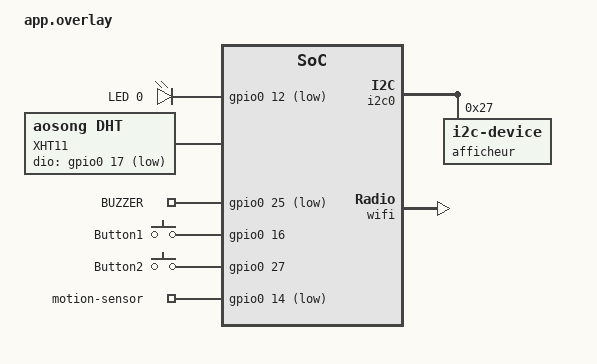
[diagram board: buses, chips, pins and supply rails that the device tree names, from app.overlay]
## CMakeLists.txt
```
cmake_minimum_required(VERSION 3.20.0)
find_package(Zephyr REQUIRED HINTS
        $ENV{ZEPHYR_BASE})
project(zephyr_smart_home_OLANDA_JACOB)
target_sources(app PRIVATE
        src/main.c
        src/lcd_screen_i2c.c
)
```

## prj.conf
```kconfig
# Sensor
CONFIG_I2C=y
CONFIG_SENSOR=y
CONFIG_ADC=y

CONFIG_WIFI=y
CONFIG_INIT_STACKS=y
CONFIG_NET_L2_WIFI_MGMT=y
CONFIG_HEAP_MEM_POOL_SIZE=98304
CONFIG_NET_L2_ETHERNET=y
CONFIG_ESP32_WIFI_STA_AUTO_DHCPV4=y

CONFIG_NETWORKING=y
CONFIG_NET_IPV4=y
CONFIG_NET_IPV6=n
CONFIG_NET_UDP=y
CONFIG_NET_TCP=y
CONFIG_DNS_RESOLVER=y
CONFIG_DNS_RESOLVER_AI_MAX_ENTRIES=10
CONFIG_NET_SOCKETS_POSIX_NAMES=y
CONFIG_NET_SOCKETS=y
CONFIG_HTTP_CLIENT=y

CONFIG_NET_DHCPV4=y
CONFIG_NET_CONFIG_SETTINGS=y
CONFIG_NET_TX_STACK_SIZE=2048
CONFIG_NET_RX_STACK_SIZE=2048
CONFIG_NET_PKT_TX_COUNT=10
CONFIG_NET_PKT_RX_COUNT=10
CONFIG_NET_BUF_RX_COUNT=20
CONFIG_NET_BUF_TX_COUNT=20
CONFIG_NET_MAX_CONTEXTS=10
```

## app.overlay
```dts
/{
    chosen {
        zephyr,console = &uart0;
    };

    leds{
        compatible = "gpio-leds";
        ledyellow: led_yellow{
            gpios = <&gpio0 12 GPIO_ACTIVE_LOW>;
            label = "LED 0";
        };
    };

    dht11: dht11 {
        compatible = "aosong,dht";
        status = "okay";
        dio-gpios = <&gpio0 17 GPIO_ACTIVE_LOW>;
        label = "XHT11";
    };


    buzzer
    {
        compatible = "gpio-keys";
        buzzer: buzzer{
            gpios = <&gpio0 25 GPIO_ACTIVE_LOW>;
            label = "BUZZER";
        };
    };


    buttons: buttons
    {
            compatible = "gpio-keys";
            button0: button_0
            {
                    gpios = <&gpio0 16 GPIO_ACTIVE_HIGH>;
                    label = "Button1";
            };
            button1: button_1
            {
                    gpios = <&gpio0 27 GPIO_ACTIVE_HIGH>;
                    label = "Button2";
            };
    };

    pir {
        compatible = "gpio-keys";
        motionsensor: motion_sensor {
        gpios = <&gpio0 14 GPIO_ACTIVE_LOW>;
        label = "motion-sensor";
        };
    };


    aliases
    {
        led-yellow = &ledyellow;
        afficheur-lcd = &afficheur;
        capteur-temp = &dht11;
        button1 = &button0;
        button2 = &button1;
        buzzer = &buzzer;
        motion-sensor = &motionsensor;
    };
};

&i2c0 {
        afficheur: afficheur_lcd@27 {
            compatible = "i2c-device";
            reg = <0x27>;
        };
};

&wifi{
    status = "okay";
};
```

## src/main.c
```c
//
// Created by seatech on 03/11/23.
//
#include <stdio.h>
#include <zephyr/kernel.h>
#include <zephyr/drivers/gpio.h>
#include "../inc/lcd_screen_i2c.h"
#include <zephyr/drivers/i2c.h>
#include <zephyr/device.h>
#include <zephyr/drivers/sensor.h>
#include <zephyr/drivers/pwm.h>
#include <zephyr/drivers/adc.h>
#include <zephyr/net/net_if.h>
#include <zephyr/net/wifi_mgmt.h>
#include <zephyr/net/net_event.h>
#include <zephyr/net/http/client.h>
#include <errno.h>
#include <zephyr/net/socket.h>

#define LED_YELLOW_NODE DT_ALIAS(led_yellow)
#define LCD_NODE DT_ALIAS(afficheur_lcd)
#define BUTTON_NODE_1 DT_ALIAS(button1)
#define BUTTON_NODE_2 DT_ALIAS(button2)
#define BUZZER_NODE DT_ALIAS(buzzer)
#define MOTION_SENSOR DT_ALIAS(motion_sensor)
#define SSID "OnePlus 8T"
#define PSK "eagleoffire8"

const struct gpio_dt_spec led_yellow_gpio = GPIO_DT_SPEC_GET_OR(LED_YELLOW_NODE, gpios, {0});
const struct i2c_dt_spec dev_lcd_screen = I2C_DT_SPEC_GET(LCD_NODE);
const struct gpio_dt_spec button_gpio1 = GPIO_DT_SPEC_GET_OR(BUTTON_NODE_1, gpios, {0});
const struct gpio_dt_spec button_gpio2 = GPIO_DT_SPEC_GET_OR(BUTTON_NODE_2, gpios, {0});
const struct gpio_dt_spec buzzer_gpio = GPIO_DT_SPEC_GET_OR(BUZZER_NODE, gpios, {0});
const struct gpio_dt_spec MotionSensor = GPIO_DT_SPEC_GET_OR(MOTION_SENSOR, gpios, {0});
const struct device *const dht11 = DEVICE_DT_GET_ONE(aosong_dht);

int flag = 0;

static K_SEM_DEFINE(wifi_connected, 0, 1);
static K_SEM_DEFINE(ipv4_address_obtained, 0, 1);

static struct net_mgmt_event_callback wifi_cb;
static struct net_mgmt_event_callback ipv4_cb;

void alarm_thread();
void error();
void gpio_callback_1();
void gpio_callback_2();

static void handle_wifi_connect_result(struct net_mgmt_event_callback *cb);
static void handle_wifi_disconnect_result(struct net_mgmt_event_callback *cb);
static void handle_ipv4_result(struct net_if *iface);
static void wifi_mgmt_event_handler(struct net_mgmt_event_callback *cb, uint32_t mgmt_event, struct net_if *iface);
void wifi_connect(void);
void wifi_status(void);

#define MIN_PERIOD PWM_SEC(1U) / 128U
#define MAX_PERIOD PWM_SEC(1U)

int main(void) {
    struct gpio_callback button_1;
    struct gpio_callback button_2;

    // Configurez les broches
    gpio_pin_configure(button_gpio1.port, button_gpio1.pin, GPIO_INPUT);
    // Configurez la gestion des interruptions
    gpio_init_callback(&button_1, gpio_callback_1, BIT(button_gpio1.pin));
    gpio_add_callback(button_gpio1.port, &button_1);
    // Activez les interruptions
    gpio_pin_interrupt_configure_dt(&button_gpio1, GPIO_INT_EDGE_BOTH);


    gpio_pin_configure(button_gpio2.port, button_gpio2.pin, GPIO_INPUT);
    gpio_init_callback(&button_2, gpio_callback_2, BIT(button_gpio2.pin));
    gpio_add_callback(button_gpio2.port, &button_2);
    gpio_pin_interrupt_configure_dt(&button_gpio2, GPIO_INT_EDGE_BOTH);

    init_lcd(&dev_lcd_screen);
    write_lcd(&dev_lcd_screen, "ALARM MODE :", LCD_LINE_1);
    write_lcd(&dev_lcd_screen, "OFF           ", LCD_LINE_2);

    gpio_pin_configure_dt(&MotionSensor, GPIO_INPUT);

    net_mgmt_init_event_callback(&wifi_cb, wifi_mgmt_event_handler, NET_EVENT_WIFI_CONNECT_RESULT | NET_EVENT_WIFI_DISCONNECT_RESULT);
    net_mgmt_init_event_callback(&ipv4_cb, wifi_mgmt_event_handler, NET_EVENT_IPV4_ADDR_ADD);

    net_mgmt_add_event_callback(&wifi_cb);
    net_mgmt_add_event_callback(&ipv4_cb);

    wifi_connect();

    k_sem_take(&wifi_connected, K_FOREVER);
    wifi_status();
    k_sem_take(&ipv4_address_obtained, K_FOREVER);


    struct sensor_value temp, humidity, press;
    while(1){
        struct sensor_value temp, humidity, press;

        if (sensor_sample_fetch(dht11) < 0)
        {
            printk("Échec de l'échantillonnage du capteur DTH11\n");
        }

        if (sensor_channel_get(dht11, SENSOR_CHAN_AMBIENT_TEMP, &temp) < 0)
        {
            printk("Échec de récupération de la température\n");
        }

        if (sensor_channel_get(dht11, SENSOR_CHAN_HUMIDITY, &humidity) < 0)
        {
            printk("Échec de récupération de l'humidité\n");
        }

        if (sensor_channel_get(dht11, SENSOR_CHAN_PRESS, &press) < 0)
        {
            printk("Échec de récupération de la pression\n");
        }

        sensor_sample_fetch(dht11);
        sensor_channel_get(dht11,SENSOR_CHAN_AMBIENT_TEMP,&temp);
        sensor_channel_get(dht11,SENSOR_CHAN_HUMIDITY,&humidity);
        sensor_channel_get(dht11,SENSOR_CHAN_PRESS,&press);

        printk("temp: %d.%06d; press: %d.%06d; humidity: %d.%06d\n",
               temp.val1, temp.val2, press.val1, press.val2,
               humidity.val1, humidity.val2);
        k_sleep(K_SECONDS(10));
    }
}

K_THREAD_DEFINE(alarm_thread_id, 521, alarm_thread, NULL, NULL, NULL, 9, 0, 0);

void alarm_thread(){
    k_thread_suspend(alarm_thread_id);
    while(1){
        if(flag == 1) {
            gpio_pin_configure_dt(&led_yellow_gpio, GPIO_OUTPUT_HIGH);
            int sens_val = gpio_pin_get_dt(&MotionSensor);
            if(sens_val == 0){
                write_lcd(&dev_lcd_screen, "ALERTE     ", LCD_LINE_1);
                write_lcd(&dev_lcd_screen, "INTRUS     ", LCD_LINE_2);
                for (int i = 0; i < 200; i++) {
                    k_sleep(K_MSEC(1));
                    gpio_pin_configure_dt(&buzzer_gpio, GPIO_OUTPUT_LOW);
                    k_sleep(K_MSEC(1));
                    gpio_pin_configure_dt(&buzzer_gpio, GPIO_OUTPUT_HIGH);
                }
            }
            else{
                write_lcd(&dev_lcd_screen, "ALARM MODE :", LCD_LINE_1);
                write_lcd(&dev_lcd_screen, "ON           ", LCD_LINE_2);
            }
        }
        else{
            write_lcd(&dev_lcd_screen, "ALARM MODE :", LCD_LINE_1);
            write_lcd(&dev_lcd_screen, "OFF          ", LCD_LINE_2);
            gpio_pin_configure_dt(&led_yellow_gpio, GPIO_OUTPUT_LOW);

            struct sensor_value temp, humidity, press;

            sensor_sample_fetch(dht11);
            sensor_channel_get(dht11,SENSOR_CHAN_AMBIENT_TEMP,&temp);
            sensor_channel_get(dht11,SENSOR_CHAN_HUMIDITY,&humidity);
            sensor_channel_get(dht11,SENSOR_CHAN_PRESS,&press);

            printk("temp: %d.%06d; press: %d.%06d; humidity: %d.%06d\n",
                   temp.val1, temp.val2, press.val1, press.val2,
                   humidity.val1, humidity.val2);
        }
        k_sleep(K_SECONDS(1));
    }
}

void gpio_callback_1()
{
    printk("Bouton 1 appuyé\n");
    flag = 1;
    k_thread_resume(alarm_thread_id);
}

void gpio_callback_2()
{
    printk("Bouton 2 appuyé\n");
    flag = 0;
}

void error()
{
}

static void handle_wifi_connect_result(struct net_mgmt_event_callback *cb)
{
    const struct wifi_status *status = (const struct wifi_status *)cb->info;
    if (status->status)
    {
        printk("Connection request failed (%d)\n", status->status);
    }
    else
    {
        printk("Connected\n");
        k_sem_give(&wifi_connected);
    }
}

static void handle_wifi_disconnect_result(struct net_mgmt_event_callback *cb)
{
    const struct wifi_status *status = (const struct wifi_status *)cb->info;
    if (status->status)
    {
        printk("Disconnection request (%d)\n", status->status);
    }
    else
    {
        printk("Disconnected\n");
        k_sem_take(&wifi_connected, K_NO_WAIT);
    }
}

static void handle_ipv4_result(struct net_if *iface)
{
    int i = 0;
    for (i = 0; i < NET_IF_MAX_IPV4_ADDR; i++)
    {
        char buf[NET_IPV4_ADDR_LEN];
        if (iface->config.ip.ipv4->unicast[i].addr_type != NET_ADDR_DHCP)
        {
            continue;
        }
        printk("IPv4 address: %s\n", net_addr_ntop(AF_INET, &iface->config.ip.ipv4->unicast[i].address.in_addr, buf, sizeof(buf)));
        printk("Subnet: %s\n", net_addr_ntop(AF_INET, &iface->config.ip.ipv4->netmask, buf, sizeof(buf)));
        printk("Router: %s\n", net_addr_ntop(AF_INET, &iface->config.ip.ipv4->gw, buf, sizeof(buf)));
    }
    k_sem_give(&ipv4_address_obtained);
}

static void wifi_mgmt_event_handler(struct net_mgmt_event_callback *cb, uint32_t mgmt_event, struct net_if *iface)
{
    switch (mgmt_event)
    {
        case NET_EVENT_WIFI_CONNECT_RESULT:
            handle_wifi_connect_result(cb);
            break;
        case NET_EVENT_WIFI_DISCONNECT_RESULT:
            handle_wifi_disconnect_result(cb);
            break;
        case NET_EVENT_IPV4_ADDR_ADD:
            handle_ipv4_result(iface);
            break;
        default:
            break;
    }
}

void wifi_connect(void)
{
    struct net_if *iface = net_if_get_default();
    struct wifi_connect_req_params wifi_params = {0};
    wifi_params.ssid = SSID;
    wifi_params.psk = PSK;
    wifi_params.ssid_length = strlen(SSID);
    wifi_params.psk_length = strlen(PSK);
    wifi_params.channel = WIFI_CHANNEL_ANY;
    wifi_params.security = WIFI_SECURITY_TYPE_PSK;
    wifi_params.band = WIFI_FREQ_BAND_2_4_GHZ;
    wifi_params.mfp = WIFI_MFP_OPTIONAL;
    printk("Connecting to SSID: %s\n", wifi_params.ssid);
    if (net_mgmt(NET_REQUEST_WIFI_CONNECT, iface, &wifi_params, sizeof(struct wifi_connect_req_params)))
    {
        printk("WiFi Connection Request Failed\n");
    }
}

void wifi_status(void)
{
    struct net_if *iface = net_if_get_default();
    struct wifi_iface_status status = {0};
    if (net_mgmt(NET_REQUEST_WIFI_IFACE_STATUS, iface, &status, sizeof(struct wifi_iface_status)))
    {
        printk("WiFi Status Request Failed\n");
    }
    printk("\n");
    if (status.state >= WIFI_STATE_ASSOCIATED)
    {
        printk("SSID: %-32s\n", status.ssid);
        printk("Channel: %d\n", status.channel);
        printk("RSSI: %d\n", status.rssi);
    }
}

/*
static struct addrinfo hints;
struct addrinfo *res;
int st, sock, ret;
hints.ai_family = AF_INET;
hints.ai_socktype = SOCK_STREAM;
st = getaddrinfo(HTTP_HOST, HTTP_PORT, &hints, &res);
printf("getaddrinfo status: %d\n", st);

if (st != 0)
{
printf("Unable to resolve address, quitting\n");
return 0;
}
dump_addrinfo(res);
sock = socket(res->ai_family, res->ai_socktype, res->ai_protocol);
CHECK(zsock_connect(sock, res->ai_addr, res->ai_addrlen));
*/
```

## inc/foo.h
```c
//
// Created by seatech on 25/10/23.
//

#ifndef ZEPHYR_SMART_HOME_OLANDA_JACOB_FOO_H
#define ZEPHYR_SMART_HOME_OLANDA_JACOB_FOO_H

#endif //ZEPHYR_SMART_HOME_OLANDA_JACOB_FOO_H
```

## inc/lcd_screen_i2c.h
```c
/**
 * Author: Vivien Debuchy
 * Simple library for LCD-1602 I2C
 * Based on https://github.com/sterlingbeason/LCD-1602-I2C
 */

#ifndef INC_LDC_SCREEN_I2C_H_
#define INC_LDC_SCREEN_I2C_H_

#include <zephyr/types.h>

struct i2c_dt_spec;

#define LCD_BACKLIGHT 0x08
#define LCD_CMD 0x00
#define LCD_CHR 0x01
#define LCD_ENABLE 0b00000100
#define LCD_LINE_1 0x80 // Select line 1
#define LCD_LINE_2 0xc0 // Select line 2
#define LCD_WIDTH 16    // Max number of carac per lines

#define HELLO_MSG "Hello !"
#define ZEPHYR_MSG "Zephyr is cool"

#define START_ALERT_MONITORING_MSG_1 "Alarm"
#define START_ALERT_MONITORING_MSG_2 "Protection"

#define INTRUDER_MSG_1 "INTRUDER"
#define INTRUDER_MSG_2 "LEAVE !"

void init_lcd(const struct i2c_dt_spec *_dev_lcd_screen);
void write_lcd(const struct i2c_dt_spec *dev_lcd_screen, const char *msg, uint8_t line);
//void write_lcd_clear(const struct i2c_dt_spec *dev_lcd_screen, const char *msg, uint8_t line);

#endif // INC_LDC_SCREEN_I2C_H_
```

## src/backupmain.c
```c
//
// Created by seatech on 03/11/23.
//

#include <zephyr/kernel.h>
#include <zephyr/drivers/gpio.h>
#include "../inc/lcd_screen_i2c.h"
#include <zephyr/drivers/i2c.h>
#include <zephyr/device.h>
#include <zephyr/drivers/sensor.h>
#include <zephyr/drivers/pwm.h>

#define LED_YELLOW_NODE DT_ALIAS(led_yellow)
#define LCD_NODE DT_ALIAS(afficheur_lcd)
#define BUTTON_NODE_1 DT_ALIAS(button1)
#define BUTTON_NODE_2 DT_ALIAS(button2)
#define BUZZER_NODE DT_ALIAS(buzzer)
#define MOTION_SENSOR DT_ALIAS(motion_sensor)


const struct gpio_dt_spec led_yellow_gpio = GPIO_DT_SPEC_GET_OR(LED_YELLOW_NODE, gpios, {0});
const struct i2c_dt_spec dev_lcd_screen = I2C_DT_SPEC_GET(LCD_NODE);
const struct gpio_dt_spec button_gpio1 = GPIO_DT_SPEC_GET_OR(BUTTON_NODE_1, gpios, {0});
const struct gpio_dt_spec button_gpio2 = GPIO_DT_SPEC_GET_OR(BUTTON_NODE_2, gpios, {0});
const struct gpio_dt_spec buzzer_gpio = GPIO_DT_SPEC_GET_OR(BUZZER_NODE, gpios, {0});
const struct gpio_dt_spec MotionSensor = GPIO_DT_SPEC_GET_OR(MOTION_SENSOR, gpios, {0});

int flag = 0;

void alarm_thread();
void error();
void gpio_callback_1();
void gpio_callback_2();

#define MIN_PERIOD PWM_SEC(1U) / 128U
#define MAX_PERIOD PWM_SEC(1U)

int main(void) {
    struct gpio_callback button_1;
    struct gpio_callback button_2;

    // Configurez les broches
    gpio_pin_configure(button_gpio1.port, button_gpio1.pin, GPIO_INPUT);
    // Configurez la gestion des interruptions
    gpio_init_callback(&button_1, gpio_callback_1, BIT(button_gpio1.pin));
    gpio_add_callback(button_gpio1.port, &button_1);
    // Activez les interruptions
    gpio_pin_interrupt_configure_dt(&button_gpio1, GPIO_INT_EDGE_BOTH);


    gpio_pin_configure(button_gpio2.port, button_gpio2.pin, GPIO_INPUT);
    gpio_init_callback(&button_2, gpio_callback_2, BIT(button_gpio2.pin));
    gpio_add_callback(button_gpio2.port, &button_2);
    gpio_pin_interrupt_configure_dt(&button_gpio2, GPIO_INT_EDGE_BOTH);

    init_lcd(&dev_lcd_screen);
    write_lcd(&dev_lcd_screen, "ALARM MODE :", LCD_LINE_1);
    write_lcd(&dev_lcd_screen, "OFF           ", LCD_LINE_2);

    gpio_pin_configure_dt(&MotionSensor, GPIO_INPUT);

    while(1){
        k_sleep(K_SECONDS(10));
    }
}

K_THREAD_DEFINE(alarm_thread_id, 521, alarm_thread, NULL, NULL, NULL, 9, 0, 0);

void alarm_thread(){
    k_thread_suspend(alarm_thread_id);
    while(1){
        if(flag == 1) {
            gpio_pin_configure_dt(&led_yellow_gpio, GPIO_OUTPUT_HIGH);
            int sens_val = gpio_pin_get_dt(&MotionSensor);
            if(sens_val == 0){
                write_lcd(&dev_lcd_screen, "ALERTE     ", LCD_LINE_1);
                write_lcd(&dev_lcd_screen, "INTRUS     ", LCD_LINE_2);
                for (int i = 0; i < 200; i++) {
                    k_sleep(K_MSEC(1));
                    gpio_pin_configure_dt(&buzzer_gpio, GPIO_OUTPUT_LOW);
                    k_sleep(K_MSEC(1));
                    gpio_pin_configure_dt(&buzzer_gpio, GPIO_OUTPUT_HIGH);
                }
            }
            else{
                write_lcd(&dev_lcd_screen, "ALARM MODE :", LCD_LINE_1);
                write_lcd(&dev_lcd_screen, "ON           ", LCD_LINE_2);
            }
        }
        else{
            write_lcd(&dev_lcd_screen, "ALARM MODE :", LCD_LINE_1);
            write_lcd(&dev_lcd_screen, "OFF          ", LCD_LINE_2);
            gpio_pin_configure_dt(&led_yellow_gpio, GPIO_OUTPUT_LOW);
        }
        k_sleep(K_SECONDS(1));
    }
}

void gpio_callback_1()
{
    printk("Bouton 1 appuyé\n");
    flag = 1;
    k_thread_resume(alarm_thread_id);
}

void gpio_callback_2()
{
    flag = 0;
    printk("Bouton 2 appuyé\n");
}

void error()
{
}
```

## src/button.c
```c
//
// Created by seatech on 02/11/23.
//

#include <zephyr.h>
#include <device.h>
#include <gpio.h>

#define BUTTON1_PIN 16
#define BUTTON2_PIN 27

void button_callback(struct device *dev, struct gpio_callback *cb)
{
    if (button_0)
    {
        printk("Bouton 1 appuyé\n");
    }
    if (button_1)
    {
        printk("Bouton 2 appuyé\n");
    }
}

void main(void)
{
    struct device *gpio_dev;
    struct gpio_callback button_cb;

    gpio_dev = device_get_binding(DT_LABEL(DT_NODELABEL(gpio0)));

    if (!gpio_dev) {
        printk("Impossible de récupérer le périphérique GPIO\n");
        return;
    }

    // Configurez les broches
    gpio_pin_configure(gpio_dev, button_0, GPIO_DIR_IN | GPIO_INT | GPIO_PULL_UP | GPIO_INT_EDGE);
    gpio_pin_configure(gpio_dev, button_1, GPIO_DIR_IN | GPIO_INT | GPIO_PULL_UP | GPIO_INT_EDGE);

    // Configurez la gestion des interruptions
    gpio_init_callback(&button_cb, button_callback, BIT(button_0) | BIT(button_1));
    gpio_add_callback(gpio_dev, &button_cb);

    // Activez les interruptions
    gpio_pin_interrupt_configure(gpio_dev, button_0, GPIO_INT_EDGE | GPIO_INT_ACTIVE_LOW);
    gpio_pin_interrupt_configure(gpio_dev, button_1, GPIO_INT_EDGE | GPIO_INT_ACTIVE_LOW);

    while (1)
    {
        if (gpio_pin_get(gpio_dev, button_0)) {
            printk("Bouton 1 relâché\n");
        } else {
            printk("Bouton 1 appuyé\n");
        }

        if (gpio_pin_get(gpio_dev, button_1)) {
            printk("Bouton 2 relâché\n");
        } else {
            printk("Bouton 2 appuyé\n");
        }

        k_sleep(K_MSEC(100));
    }

    }
```

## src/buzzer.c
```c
#include <zephyr/kernel.h>
#include <zephyr/sys/printk.h>
#include <zephyr/device.h>
#include <zephyr/drivers/pwm.h>

const struct gpio_dt_spec buzzer_gpio = GPIO_DT_SPEC_GET_OR(BUZZER_NODE, gpios, {0});

int main(void)
        {
    k_sleep(K_MSEC(1));
    gpio_pin_configure_dt(&buzzer_gpio, GPIO_OUTPUT_LOW);
    k_sleep(K_MSEC(1));
    gpio_pin_configure_dt(&buzzer_gpio, GPIO_OUTPUT_HIGH);
    k_sleep(K_MSEC(1));
}
```

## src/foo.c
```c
//
// Created by seatech on 25/10/23.
//
```

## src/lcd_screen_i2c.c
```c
#include "../inc/lcd_screen_i2c.h"

#include <zephyr/kernel.h>
#include <string.h>
#include <zephyr/drivers/i2c.h>

static void lcd_toggle_enable(const struct i2c_dt_spec *dev_lcd_screen, uint8_t bits);
static void lcd_byte(const struct i2c_dt_spec *dev_lcd_screen, uint8_t bits, uint8_t mode);


void init_lcd(const struct i2c_dt_spec *dev_lcd_screen)
{
    lcd_byte(dev_lcd_screen, 0x33, LCD_CMD);
    lcd_byte(dev_lcd_screen, 0x32, LCD_CMD);
    lcd_byte(dev_lcd_screen, 0x06, LCD_CMD);
    lcd_byte(dev_lcd_screen, 0x0c, LCD_CMD);
    lcd_byte(dev_lcd_screen, 0x28, LCD_CMD);
    lcd_byte(dev_lcd_screen, 0x01, LCD_CMD);
    write_lcd(dev_lcd_screen, HELLO_MSG, LCD_LINE_1);
    write_lcd(dev_lcd_screen, ZEPHYR_MSG, LCD_LINE_2);
}

static void lcd_byte(const struct i2c_dt_spec *dev_lcd_screen, uint8_t bits, uint8_t mode)
{
    int ret = 0;
    uint8_t bits_high = mode | (bits & 0xf0) | LCD_BACKLIGHT;
    uint8_t bits_low = mode | ((bits << 4) & 0xf0) | LCD_BACKLIGHT;
    ret = i2c_write_dt(dev_lcd_screen, &bits_high, sizeof(bits_high));
    if (ret != 0)
    {
        printk("ERROR while writing to I2C");
    }
    lcd_toggle_enable(dev_lcd_screen, bits_high);

    ret = i2c_write_dt(dev_lcd_screen, &bits_low, sizeof(bits_low));
    if (ret != 0)
    {
        printk("ERROR while writing to I2C");
    }
    lcd_toggle_enable(dev_lcd_screen, bits_low);
}

void write_lcd(const struct i2c_dt_spec *dev_lcd_screen, const char *msg, uint8_t line)
{
    lcd_byte(dev_lcd_screen, line, LCD_CMD);

    // Todo: fill the array with space at the end to complete the line

    if (strlen(msg) > LCD_WIDTH)
    {
        return;
    }
    for (uint8_t i = 0; i < strlen(msg); i++)
    {
        lcd_byte(dev_lcd_screen, msg[i], LCD_CHR);
    }
}

static void lcd_toggle_enable(const struct i2c_dt_spec *dev_lcd_screen, uint8_t bits)
{
    int ret = 0;
    k_sleep(K_MSEC(5));
    uint8_t bits1 = bits | LCD_ENABLE;
    ret = i2c_write_dt(dev_lcd_screen, &bits1, sizeof(bits1));
    if (ret != 0)
    {
        printk("ERROR while writing to I2C");
    }
    k_sleep(K_MSEC(5));
    uint8_t bits2 = bits & ~LCD_ENABLE;
    ret = i2c_write_dt(dev_lcd_screen, &bits2, sizeof(bits2));
    if (ret != 0)
    {
        printk("ERROR while writing to I2C");
    }
    k_sleep(K_MSEC(5));
}
```

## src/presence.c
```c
//
// Created by seatech on 03/11/23.
//

#include <zephyr/kernel.h>
#include <zephyr/drivers/gpio.h>
#include "../inc/lcd_screen_i2c.h"
#include <zephyr/drivers/i2c.h>
#include <zephyr/device.h>
#include <zephyr/drivers/sensor.h>
#include <zephyr/drivers/pwm.h>

#define LED_YELLOW_NODE DT_ALIAS(led_yellow)
#define LCD_NODE DT_ALIAS(afficheur_lcd)
#define BUTTON_NODE_1 DT_ALIAS(button1)
#define BUTTON_NODE_2 DT_ALIAS(button2)
#define BUZZER_NODE DT_ALIAS(buzzer)
#define CAPTEURPRES_NODE DT_ALIAS(capteur_presence)

const struct i2c_dt_spec dev_lcd_screen = I2C_DT_SPEC_GET(LCD_NODE);
const struct gpio_dt_spec button_gpio1 = GPIO_DT_SPEC_GET_OR(BUTTON_NODE_1, gpios, {0});
const struct gpio_dt_spec button_gpio2 = GPIO_DT_SPEC_GET_OR(BUTTON_NODE_2, gpios, {0});
const struct gpio_dt_spec buzzer_gpio = GPIO_DT_SPEC_GET_OR(BUZZER_NODE, gpios, {0});
const struct gpio_dt_spec capteur_pres_gpio = GPIO_DT_SPEC_GET_OR(CAPTEURPRES_NODE, gpios, {0});

void alarm_ON_thread()
void alarm_OFF_thread()
void error();
void boutton_callback_1();
void boutton_callback_2();

#define MIN_PERIOD PWM_SEC(1U) / 128U
#define MAX_PERIOD PWM_SEC(1U)

int main(void) {
    gpio_pin_configure(button_gpio1.port, button_gpio1.pin, GPIO_INPUT );
    gpio_init_callback(&button_1, boutton_callback_1, BIT(button_gpio1.pin) );
    gpio_add_callback(button_gpio1.port, &button_1);
    gpio_pin_interrupt_configure_dt(&button_gpio1, GPIO_INT_EDGE_BOTH);

    gpio_pin_configure(button_gpio2.port, button_gpio2.pin, GPIO_INPUT );
    gpio_init_callback(&button_2, boutton_callback_2, BIT(button_gpio2.pin) );
    gpio_add_callback(button_gpio2.port, &button_2);
    gpio_pin_interrupt_configure_dt(&button_gpio2, GPIO_INT_EDGE_BOTH);

    init_lcd(&dev_lcd_screen);
    write_lcd(&dev_lcd_screen, "ALARM MODE :", LCD_LINE_1);
}

void alarm_ON_thread(){
    k_thread_suspend(alarm_ON_thread_id);
    while(1){
        gpio_pin_configure_dt(&led_yellow_gpio, GPIO_OUTPUT_HIGH);
        k_sleep(K_MSEC(1));
        gpio_pin_configure_dt(&buzzer_gpio, GPIO_OUTPUT_LOW);
        k_sleep(K_MSEC(1));
        gpio_pin_configure_dt(&buzzer_gpio, GPIO_OUTPUT_HIGH);
        k_sleep(K_MSEC(1));
        k_sleep(1);
    }
}
void alarm_OFF_thread(){
    k_thread_suspend(alarm_OFF_thread_id);
    while(1){
        k_sleep(1);
    }
}

void boutton_callback_1()
{
    write_lcd(&dev_lcd_screen, "ON ", LCD_LINE_2);
    k_thread_suspend(alarm_OFF_thread_id);
    k_thread_resume(alarm_ON_thread_id);
}

void boutton_callback_2()
{
    write_lcd(&dev_lcd_screen, "OFF", LCD_LINE_2);
    k_thread_suspend(alarm_ON_thread_id);
    k_thread_resume(alarm_OFF_thread_id);
}

void error()
{
}

K_THREAD_DEFINE(alarm_ON_thread_id,521, alarm_ON_thread, NULL, NULL, NULL, 9, 0, 0);
K_THREAD_DEFINE(alarm_OFF_thread_id,521, alarm_OFF_thread, NULL, NULL, NULL, 9, 0, 0);
```

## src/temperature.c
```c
#include <zephyr.h>
#include <device.h>
#include <drivers/sensor.h>

const struct device *const dht11 = DEVICE_DT_GET_ONE(aosong_dht);

void error(void);

void main(void)
{

    if (!dht11)
    {
        error();
    }

    while (1)
    {
        struct sensor_value temp, humidity, press;

        if (sensor_sample_fetch(dht11) < 0)
        {
            printk("Échec de l'échantillonnage du capteur DTH11\n");
        }

        if (sensor_channel_get(dht11, SENSOR_CHAN_AMBIENT_TEMP, &temp) < 0)
        {
            printk("Échec de récupération de la température\n");
        }

        if (sensor_channel_get(dht11, SENSOR_CHAN_HUMIDITY, &humidity) < 0)
        {
            printk("Échec de récupération de l'humidité\n");
        }

        if (sensor_channel_get(dht11, SENSOR_CHAN_PRESS, &press) < 0)
        {
            printk("Échec de récupération de la pression\n");
        }

        sensor_sample_fetch(dht11);
        sensor_channel_get(dht11,SENSOR_CHAN_AMBIENT_TEMP,&temp);
        sensor_channel_get(dht11,SENSOR_CHAN_HUMIDITY,&humidity);
        sensor_channel_get(dht11,SENSOR_CHAN_PRESS,&press);

        printk("temp: %d.%06d; press: %d.%06d; humidity: %d.%06d\n",
               temp.val1, temp.val2, press.val1, press.val2,
               humidity.val1, humidity.val2);

        k_sleep(K_SECONDS(10));
    }
}

void error()
{
    while(1)
    {
        printk("Capteur DTH11 non trouvé.\n");
    }
}
```
